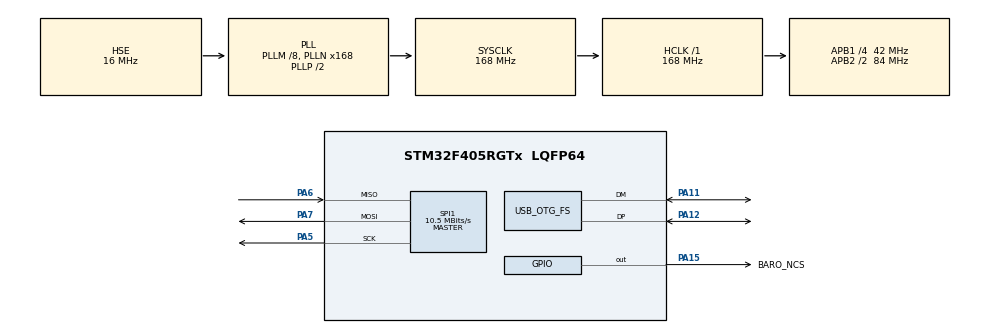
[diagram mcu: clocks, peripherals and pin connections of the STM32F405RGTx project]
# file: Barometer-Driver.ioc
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Mcu.Family=STM32F4
Mcu.Name=STM32F405RGTx
Mcu.Package=LQFP64
NVIC.OTG_FS_IRQn=true\:0\:0\:false\:false\:true\:false\:true
NVIC.PriorityGroup=NVIC_PRIORITYGROUP_4
PA11.Mode=Device_Only
PA11.Signal=USB_OTG_FS_DM
PA12.Mode=Device_Only
PA12.Signal=USB_OTG_FS_DP
PA13.Mode=Serial_Wire
PA13.Signal=SYS_JTMS-SWDIO
PA14.Mode=Serial_Wire
PA14.Signal=SYS_JTCK-SWCLK
PA15.GPIO_Label=BARO_NCS
PA15.Signal=GPIO_Output
PA5.Mode=Full_Duplex_Master
PA5.Signal=SPI1_SCK
PA6.Mode=Full_Duplex_Master
PA6.Signal=SPI1_MISO
PA7.Mode=Full_Duplex_Master
PA7.Signal=SPI1_MOSI
PH0-OSC_IN.Mode=HSE-External-Oscillator
PH0-OSC_IN.Signal=RCC_OSC_IN
PH1-OSC_OUT.Mode=HSE-External-Oscillator
PH1-OSC_OUT.Signal=RCC_OSC_OUT
ProjectManager.HeapSize=0x200
ProjectManager.StackSize=0x400
ProjectManager.TargetToolchain=STM32CubeIDE
RCC.48MHZClocksFreq_Value=48000000
RCC.AHBFreq_Value=168000000
RCC.APB1CLKDivider=RCC_HCLK_DIV4
RCC.APB1Freq_Value=42000000
RCC.APB1TimFreq_Value=84000000
RCC.APB2CLKDivider=RCC_HCLK_DIV2
RCC.APB2Freq_Value=84000000
RCC.APB2TimFreq_Value=168000000
RCC.CortexFreq_Value=168000000
RCC.HCLKFreq_Value=168000000
RCC.HSE_VALUE=16000000
RCC.HSI_VALUE=16000000
RCC.LSE_VALUE=32768
RCC.PLLM=8
RCC.PLLN=168
RCC.PLLQ=7
RCC.SYSCLKFreq_VALUE=168000000
RCC.SYSCLKSource=RCC_SYSCLKSOURCE_PLLCLK
RCC.VCOOutputFreq_Value=336000000
SPI1.BaudRatePrescaler=SPI_BAUDRATEPRESCALER_8
SPI1.CalculateBaudRate=10.5 MBits/s
SPI1.Direction=SPI_DIRECTION_2LINES
SPI1.Mode=SPI_MODE_MASTER
SPI1.VirtualType=VM_MASTER
USB_DEVICE.CLASS_NAME_FS=CDC
USB_DEVICE.VirtualMode-CDC_FS=Cdc
USB_DEVICE.VirtualModeFS=Cdc_FS
USB_OTG_FS.VirtualMode=Device_Only
VP_USB_DEVICE_VS_USB_DEVICE_CDC_FS.Mode=CDC_FS
board=custom

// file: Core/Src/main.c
/* USER CODE BEGIN Header */
/**
  ******************************************************************************
  * @file           : main.c
  * @brief          : Main program body
  ******************************************************************************
  * @attention
  *
  * <h2><center>&copy; Copyright (c) 2021 STMicroelectronics.
  * All rights reserved.</center></h2>
  *
  * This software component is licensed by ST under BSD 3-Clause license,
  * the "License"; You may not use this file except in compliance with the
  * License. You may obtain a copy of the License at:
  *                        opensource.org/licenses/BSD-3-Clause
  *
  ******************************************************************************
  */
/* USER CODE END Header */
#include "main.h"
#include "usb_device.h"

/* USER CODE BEGIN Includes */
#include "usbd_cdc_if.h"
#include "BMP280.h"

/* USER CODE END Includes */

SPI_HandleTypeDef hspi1;

/* USER CODE BEGIN PV */
BMP280_HandleTypedef bmp280;

/* USER CODE END PV */

void SystemClock_Config(void);
static void MX_GPIO_Init(void);
static void MX_SPI1_Init(void);

int main(void)
{

  /* MCU Configuration--------------------------------------------------------*/

  /* Reset of all peripherals, Initializes the Flash interface and the Systick. */
  HAL_Init();

  /* Configure the system clock */
  SystemClock_Config();

  /* Initialize all configured peripherals */
  MX_GPIO_Init();
  MX_USB_DEVICE_Init();
  MX_SPI1_Init();
  /* USER CODE BEGIN 2 */

  bmp280_init_default_params(&bmp280.params);
  bmp280.spi = &hspi1;
  uint32_t pressure;
  int32_t temperature;
  uint8_t data[256];

  while (!bmp280_init(&bmp280, &bmp280.params))
  {
	  sprintf((char *)data, "BMP280 Initialization Failed\r\n\n");
	  CDC_Transmit_FS(data, sizeof(data));
	  memset(data, 0, sizeof(data));
	  HAL_Delay(1000);
  }
  sprintf((char *)data, "BMP280 Found\r\n\n");

  // Create a buffer
//  char txBuf[8];
//  uint8_t count = 1;
  /* USER CODE END 2 */

  /* Infinite loop */
  while (1)
  {

    /* USER CODE BEGIN 3 */

	while(!bmp280_is_measuring(&bmp280));

	while(!bmp280_read_fixed(&bmp280, &temperature, &pressure))
	{
		sprintf((char *)data, "Temperature/Pressure Reading Failed\r\n\n");
		CDC_Transmit_FS(data, sizeof(data));
		memset(data, 0, sizeof(data));
	}

	sprintf((char *)data, "Pressure: %lu Pa \r\nTemperature: %ld C \r\n", pressure, temperature);
	CDC_Transmit_FS(data, sizeof(data));
	memset(data, 0, sizeof(data));
	HAL_Delay(1000);

  }
  /* USER CODE END 3 */
}

void SystemClock_Config(void)
{
  RCC_OscInitTypeDef RCC_OscInitStruct = {0};
  RCC_ClkInitTypeDef RCC_ClkInitStruct = {0};

  /** Configure the main internal regulator output voltage
  */
  __HAL_RCC_PWR_CLK_ENABLE();
  __HAL_PWR_VOLTAGESCALING_CONFIG(PWR_REGULATOR_VOLTAGE_SCALE1);
  /** Initializes the RCC Oscillators according to the specified parameters
  * in the RCC_OscInitTypeDef structure.
  */
  RCC_OscInitStruct.OscillatorType = RCC_OSCILLATORTYPE_HSE;
  RCC_OscInitStruct.HSEState = RCC_HSE_ON;
  RCC_OscInitStruct.PLL.PLLState = RCC_PLL_ON;
  RCC_OscInitStruct.PLL.PLLSource = RCC_PLLSOURCE_HSE;
  RCC_OscInitStruct.PLL.PLLM = 8;
  RCC_OscInitStruct.PLL.PLLN = 168;
  RCC_OscInitStruct.PLL.PLLP = RCC_PLLP_DIV2;
  RCC_OscInitStruct.PLL.PLLQ = 7;
  if (HAL_RCC_OscConfig(&RCC_OscInitStruct) != HAL_OK)
  {
    Error_Handler();
  }
  /** Initializes the CPU, AHB and APB buses clocks
  */
  RCC_ClkInitStruct.ClockType = RCC_CLOCKTYPE_HCLK|RCC_CLOCKTYPE_SYSCLK
                              |RCC_CLOCKTYPE_PCLK1|RCC_CLOCKTYPE_PCLK2;
  RCC_ClkInitStruct.SYSCLKSource = RCC_SYSCLKSOURCE_PLLCLK;
  RCC_ClkInitStruct.AHBCLKDivider = RCC_SYSCLK_DIV1;
  RCC_ClkInitStruct.APB1CLKDivider = RCC_HCLK_DIV4;
  RCC_ClkInitStruct.APB2CLKDivider = RCC_HCLK_DIV2;

  if (HAL_RCC_ClockConfig(&RCC_ClkInitStruct, FLASH_LATENCY_5) != HAL_OK)
  {
    Error_Handler();
  }
}

static void MX_SPI1_Init(void)
{

  /* SPI1 parameter configuration*/
  hspi1.Instance = SPI1;
  hspi1.Init.Mode = SPI_MODE_MASTER;
  hspi1.Init.Direction = SPI_DIRECTION_2LINES;
  hspi1.Init.DataSize = SPI_DATASIZE_8BIT;
  hspi1.Init.CLKPolarity = SPI_POLARITY_LOW;
  hspi1.Init.CLKPhase = SPI_PHASE_1EDGE;
  hspi1.Init.NSS = SPI_NSS_SOFT;
  hspi1.Init.BaudRatePrescaler = SPI_BAUDRATEPRESCALER_8;
  hspi1.Init.FirstBit = SPI_FIRSTBIT_MSB;
  hspi1.Init.TIMode = SPI_TIMODE_DISABLE;
  hspi1.Init.CRCCalculation = SPI_CRCCALCULATION_DISABLE;
  hspi1.Init.CRCPolynomial = 10;
  if (HAL_SPI_Init(&hspi1) != HAL_OK)
  {
    Error_Handler();
  }

}

static void MX_GPIO_Init(void)
{
  GPIO_InitTypeDef GPIO_InitStruct = {0};

  /* GPIO Ports Clock Enable */
  __HAL_RCC_GPIOH_CLK_ENABLE();
  __HAL_RCC_GPIOA_CLK_ENABLE();

  /*Configure GPIO pin Output Level */
  HAL_GPIO_WritePin(BARO_NCS_GPIO_Port, BARO_NCS_Pin, GPIO_PIN_RESET);

  /*Configure GPIO pin : BARO_NCS_Pin */
  GPIO_InitStruct.Pin = BARO_NCS_Pin;
  GPIO_InitStruct.Mode = GPIO_MODE_OUTPUT_PP;
  GPIO_InitStruct.Pull = GPIO_NOPULL;
  GPIO_InitStruct.Speed = GPIO_SPEED_FREQ_LOW;
  HAL_GPIO_Init(BARO_NCS_GPIO_Port, &GPIO_InitStruct);

}

void Error_Handler(void)
{
  __disable_irq();
  while (1)
  {
  }
}

/************************ (C) COPYRIGHT STMicroelectronics *****END OF FILE****/
